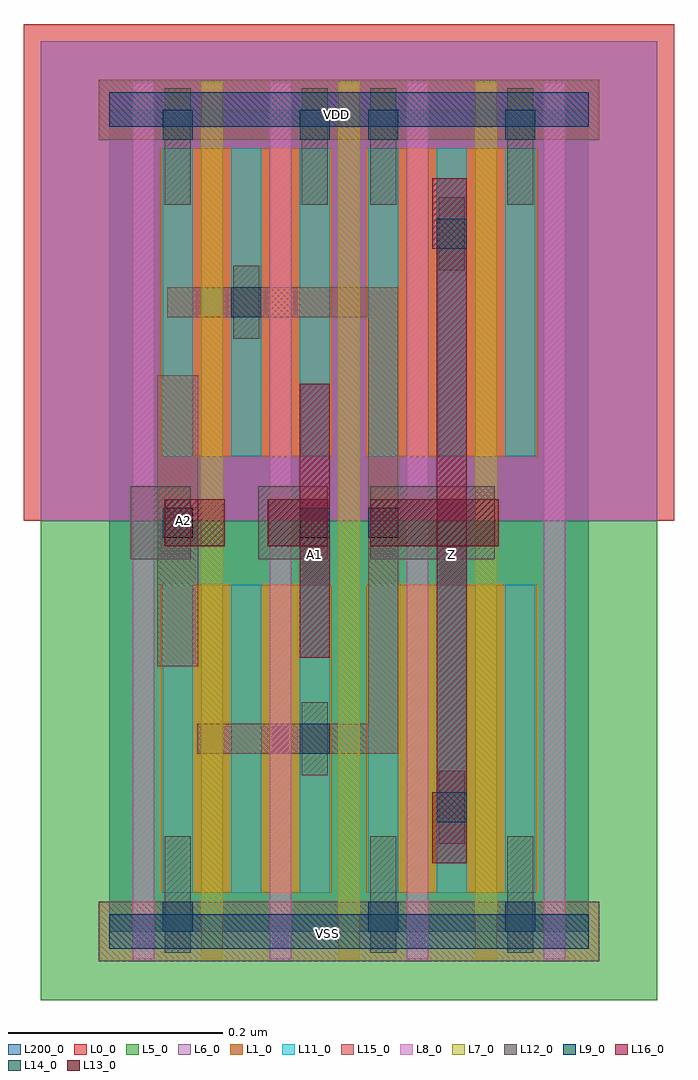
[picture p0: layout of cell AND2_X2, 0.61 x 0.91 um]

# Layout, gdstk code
import gdstk
lib = gdstk.Library(unit=1e-6, precision=1e-09)
def R(c, l, rs):  # rectangles x0, y0, x1, y1
    for r in rs: c.add(gdstk.rectangle(r[:2], r[2:], *l))
def A(c, l, x, y, w, h, nx, ny, dx, dy):  # array of equal rectangles
    R(c, l, [(x+i*dx, y+j*dy, x+i*dx+w, y+j*dy+h) for i in range(nx) for j in range(ny)])
def P(c, l, *ps):  # polygons
    for p in ps: c.add(gdstk.Polygon(p, *l))
L0_0 = (0, 0)
L1_0 = (1, 0)
L5_0 = (5, 0)
L6_0 = (6, 0)
L7_0 = (7, 0)
L8_0 = (8, 0)
L9_0 = (9, 0)
L11_0 = (11, 0)
L12_0 = (12, 0)
L13_0 = (13, 0)
L14_0 = (14, 0)
L15_0 = (15, 0)
L16_0 = (16, 0)
L200_0 = (200, 0)

and2_x2 = lib.new_cell('AND2_X2')
R(and2_x2, L0_0, [(-0.08,0.384,0.528,0.848)])
R(and2_x2, L1_0, [(0.048,0.036,0.208,0.324), (0.24,0.036,0.4,0.324), (0.048,0.444,0.208,0.732), (0.24,0.444,0.4,0.732)])
R(and2_x2, L5_0, [(-0.064,-0.064,0.512,0.384)])
R(and2_x2, L6_0, [(-0.064,0.384,0.512,0.832)])
A(and2_x2, L7_0, 0.086, -0.026, 0.02, 0.82, 3, 1, 0.128, 0)
A(and2_x2, L8_0, 0.022, -0.026, 0.02, 0.82, 4, 1, 0.128, 0)
R(and2_x2, L9_0, [(0,-0.016,0.448,0.016), (0,0.752,0.448,0.784)])
A(and2_x2, L11_0, 0.05, 0.036, 0.028, 0.288, 6, 2, 0.064, 0.408)
R(and2_x2, L12_0, [(0.052,-0.02,0.076,0.089), (0.244,-0.02,0.268,0.089), (0.372,-0.02,0.396,0.089), (0.308,0.082,0.332,0.15), (0.18,0.146,0.204,0.214), (0.02,0.348,0.076,0.416), (0.139,0.348,0.204,0.416), (0.244,0.348,0.36,0.416), (0.116,0.554,0.14,0.622), (0.308,0.618,0.332,0.686), (0.052,0.679,0.076,0.788), (0.18,0.679,0.204,0.788), (0.244,0.679,0.268,0.788), (0.372,0.679,0.396,0.788)])
R(and2_x2, L13_0, [(0.052,0.36,0.108,0.404), (0.148,0.36,0.204,0.404), (0.244,0.36,0.364,0.404)])
R(and2_x2, L14_0, [(0.05,0,0.078,0.028), (0.242,0,0.27,0.028), (0.37,0,0.398,0.028), (0.306,0.102,0.334,0.13), (0.178,0.166,0.206,0.194), (0.05,0.368,0.078,0.396), (0.178,0.368,0.206,0.396), (0.242,0.368,0.27,0.396), (0.114,0.574,0.142,0.602), (0.306,0.638,0.334,0.666), (0.05,0.74,0.078,0.768), (0.178,0.74,0.206,0.768), (0.242,0.74,0.27,0.768), (0.37,0.74,0.398,0.768)])
R(and2_x2, L15_0, [(-0.01,-0.028,0.458,0.028), (0.045,0.248,0.083,0.52), (-0.01,0.74,0.458,0.796)])
P(and2_x2, L15_0, [(0.054,0.574),(0.242,0.574),(0.242,0.194),(0.082,0.194),(0.082,0.166),(0.27,0.166),(0.27,0.602),(0.054,0.602)])
R(and2_x2, L16_0, [(0.178,0.256,0.206,0.512)])
P(and2_x2, L16_0, [(0.302,0.638),(0.306,0.638),(0.306,0.13),(0.302,0.13),(0.302,0.064),(0.334,0.064),(0.334,0.704),(0.302,0.704)])
R(and2_x2, L200_0, [(0,0,0.448,0.768)])
and2_x2.add(gdstk.Label('VSS', (0.204,-0.002), layer=15, texttype=20))
and2_x2.add(gdstk.Label('A2', (0.069,0.384), layer=15, texttype=20))
and2_x2.add(gdstk.Label('VDD', (0.212,0.763), layer=15, texttype=20))
and2_x2.add(gdstk.Label('A1', (0.192,0.352), layer=16, texttype=20))
and2_x2.add(gdstk.Label('Z', (0.32,0.352), layer=16, texttype=20))

lib.write_gds('AND2_X2.gds')
